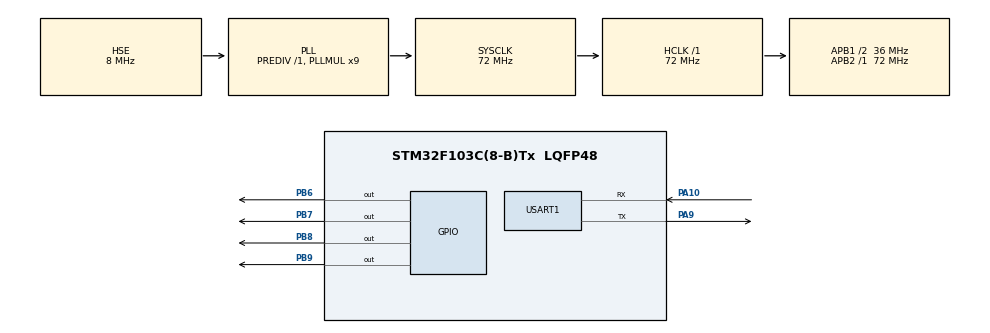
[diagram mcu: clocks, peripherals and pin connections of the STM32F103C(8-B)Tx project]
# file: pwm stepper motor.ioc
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Dma.Request0=USART1_RX
Dma.Request1=USART1_TX
Dma.USART1_RX.0.Direction=DMA_PERIPH_TO_MEMORY
Dma.USART1_RX.0.Instance=DMA1_Channel5
Dma.USART1_RX.0.MemDataAlignment=DMA_MDATAALIGN_BYTE
Dma.USART1_RX.0.MemInc=DMA_MINC_ENABLE
Dma.USART1_RX.0.Mode=DMA_NORMAL
Dma.USART1_RX.0.PeriphDataAlignment=DMA_PDATAALIGN_BYTE
Dma.USART1_RX.0.PeriphInc=DMA_PINC_DISABLE
Dma.USART1_RX.0.Priority=DMA_PRIORITY_LOW
Dma.USART1_TX.1.Direction=DMA_MEMORY_TO_PERIPH
Dma.USART1_TX.1.Instance=DMA1_Channel4
Dma.USART1_TX.1.MemDataAlignment=DMA_MDATAALIGN_BYTE
Dma.USART1_TX.1.MemInc=DMA_MINC_ENABLE
Dma.USART1_TX.1.Mode=DMA_NORMAL
Dma.USART1_TX.1.PeriphDataAlignment=DMA_PDATAALIGN_BYTE
Dma.USART1_TX.1.PeriphInc=DMA_PINC_DISABLE
Dma.USART1_TX.1.Priority=DMA_PRIORITY_LOW
Mcu.Family=STM32F1
Mcu.Name=STM32F103C(8-B)Tx
Mcu.Package=LQFP48
NVIC.DMA1_Channel4_IRQn=true\:0\:0\:false\:false\:true\:false\:true\:true
NVIC.DMA1_Channel5_IRQn=true\:0\:0\:false\:false\:true\:false\:true\:true
NVIC.PriorityGroup=NVIC_PRIORITYGROUP_4
NVIC.USART1_IRQn=true\:0\:0\:false\:false\:true\:true\:true\:true
PA10.Mode=Asynchronous
PA10.Signal=USART1_RX
PA13.Mode=Serial_Wire
PA13.Signal=SYS_JTMS-SWDIO
PA14.Mode=Serial_Wire
PA14.Signal=SYS_JTCK-SWCLK
PA9.Mode=Asynchronous
PA9.Signal=USART1_TX
PB6.Signal=GPIO_Output
PB7.Signal=GPIO_Output
PB8.Signal=GPIO_Output
PB9.Signal=GPIO_Output
PD0-OSC_IN.Mode=HSE-External-Oscillator
PD0-OSC_IN.Signal=RCC_OSC_IN
PD1-OSC_OUT.Mode=HSE-External-Oscillator
PD1-OSC_OUT.Signal=RCC_OSC_OUT
ProjectManager.HeapSize=0x200
ProjectManager.StackSize=0x400
ProjectManager.TargetToolchain=STM32CubeIDE
RCC.AHBFreq_Value=72000000
RCC.APB1CLKDivider=RCC_HCLK_DIV2
RCC.APB1Freq_Value=36000000
RCC.APB1TimFreq_Value=72000000
RCC.APB2Freq_Value=72000000
RCC.APB2TimFreq_Value=72000000
RCC.HCLKFreq_Value=72000000
RCC.PLLMUL=RCC_PLL_MUL9
RCC.PLLSourceVirtual=RCC_PLLSOURCE_HSE
RCC.SYSCLKFreq_VALUE=72000000
RCC.SYSCLKSource=RCC_SYSCLKSOURCE_PLLCLK
RCC.USBFreq_Value=72000000
TIM2.Prescaler=71
USART1.VirtualMode=VM_ASYNC
VP_TIM2_VS_ClockSourceINT.Mode=Internal
board=custom

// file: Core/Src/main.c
/* USER CODE BEGIN Header */
/**
  ******************************************************************************
  * @file           : main.c
  * @brief          : Main program body
  ******************************************************************************
  * @attention
  *
  * Copyright (c) 2023 STMicroelectronics.
  * All rights reserved.
  *
  * This software is licensed under terms that can be found in the LICENSE file
  * in the root directory of this software component.
  * If no LICENSE file comes with this software, it is provided AS-IS.
  *
  ******************************************************************************
  */
/* USER CODE END Header */
#include "main.h"
#include "dma.h"
#include "tim.h"
#include "usart.h"
#include "gpio.h"

/* USER CODE BEGIN Includes */
#include "stepper_motor.h"

/* USER CODE END Includes */

/* USER CODE BEGIN PV */
uint8_t TxData[10] = "112233";
uint8_t RxData[15];
extern float angle;
extern uint8_t direction;
extern float RPM;
/* USER CODE END PV */

void SystemClock_Config(void);

int main(void)
{

  /* MCU Configuration--------------------------------------------------------*/

  /* Reset of all peripherals, Initializes the Flash interface and the Systick. */
  HAL_Init();

  /* Configure the system clock */
  SystemClock_Config();

  /* Initialize all configured peripherals */
  MX_GPIO_Init();
  MX_DMA_Init();
  MX_TIM2_Init();
  MX_USART1_UART_Init();
  /* USER CODE BEGIN 2 */
stepperMotor_Init();
HAL_UARTEx_ReceiveToIdle_IT(&huart1, RxData, 15);
  /* USER CODE END 2 */

  /* Infinite loop */
  /* USER CODE BEGIN WHILE */
  while (1)
  {		HAL_UART_Transmit_IT(&huart1, RxData, 10);
	  halfDrive_angle_diretion_RPM(angle,direction,RPM);
	  HAL_Delay(1000);
    /* USER CODE END WHILE */

  }
}

void SystemClock_Config(void)
{
  RCC_OscInitTypeDef RCC_OscInitStruct = {0};
  RCC_ClkInitTypeDef RCC_ClkInitStruct = {0};

  /** Initializes the RCC Oscillators according to the specified parameters
  * in the RCC_OscInitTypeDef structure.
  */
  RCC_OscInitStruct.OscillatorType = RCC_OSCILLATORTYPE_HSE;
  RCC_OscInitStruct.HSEState = RCC_HSE_ON;
  RCC_OscInitStruct.HSEPredivValue = RCC_HSE_PREDIV_DIV1;
  RCC_OscInitStruct.HSIState = RCC_HSI_ON;
  RCC_OscInitStruct.PLL.PLLState = RCC_PLL_ON;
  RCC_OscInitStruct.PLL.PLLSource = RCC_PLLSOURCE_HSE;
  RCC_OscInitStruct.PLL.PLLMUL = RCC_PLL_MUL9;
  if (HAL_RCC_OscConfig(&RCC_OscInitStruct) != HAL_OK)
  {
    Error_Handler();
  }

  /** Initializes the CPU, AHB and APB buses clocks
  */
  RCC_ClkInitStruct.ClockType = RCC_CLOCKTYPE_HCLK|RCC_CLOCKTYPE_SYSCLK
                              |RCC_CLOCKTYPE_PCLK1|RCC_CLOCKTYPE_PCLK2;
  RCC_ClkInitStruct.SYSCLKSource = RCC_SYSCLKSOURCE_PLLCLK;
  RCC_ClkInitStruct.AHBCLKDivider = RCC_SYSCLK_DIV1;
  RCC_ClkInitStruct.APB1CLKDivider = RCC_HCLK_DIV2;
  RCC_ClkInitStruct.APB2CLKDivider = RCC_HCLK_DIV1;

  if (HAL_RCC_ClockConfig(&RCC_ClkInitStruct, FLASH_LATENCY_2) != HAL_OK)
  {
    Error_Handler();
  }
}

/* USER CODE BEGIN 4 */
void HAL_UARTEx_RxEventCallback(UART_HandleTypeDef *huart, uint16_t Size)
{
	if(huart == &huart1)
	{
		HAL_UARTEx_ReceiveToIdle_IT(&huart1, RxData, 15);
		sscanf(RxData,"%f %d %f",&angle,&direction,&RPM);
	}
}
/* USER CODE END 4 */

void Error_Handler(void)
{
  __disable_irq();
  while (1)
  {
  }
}
